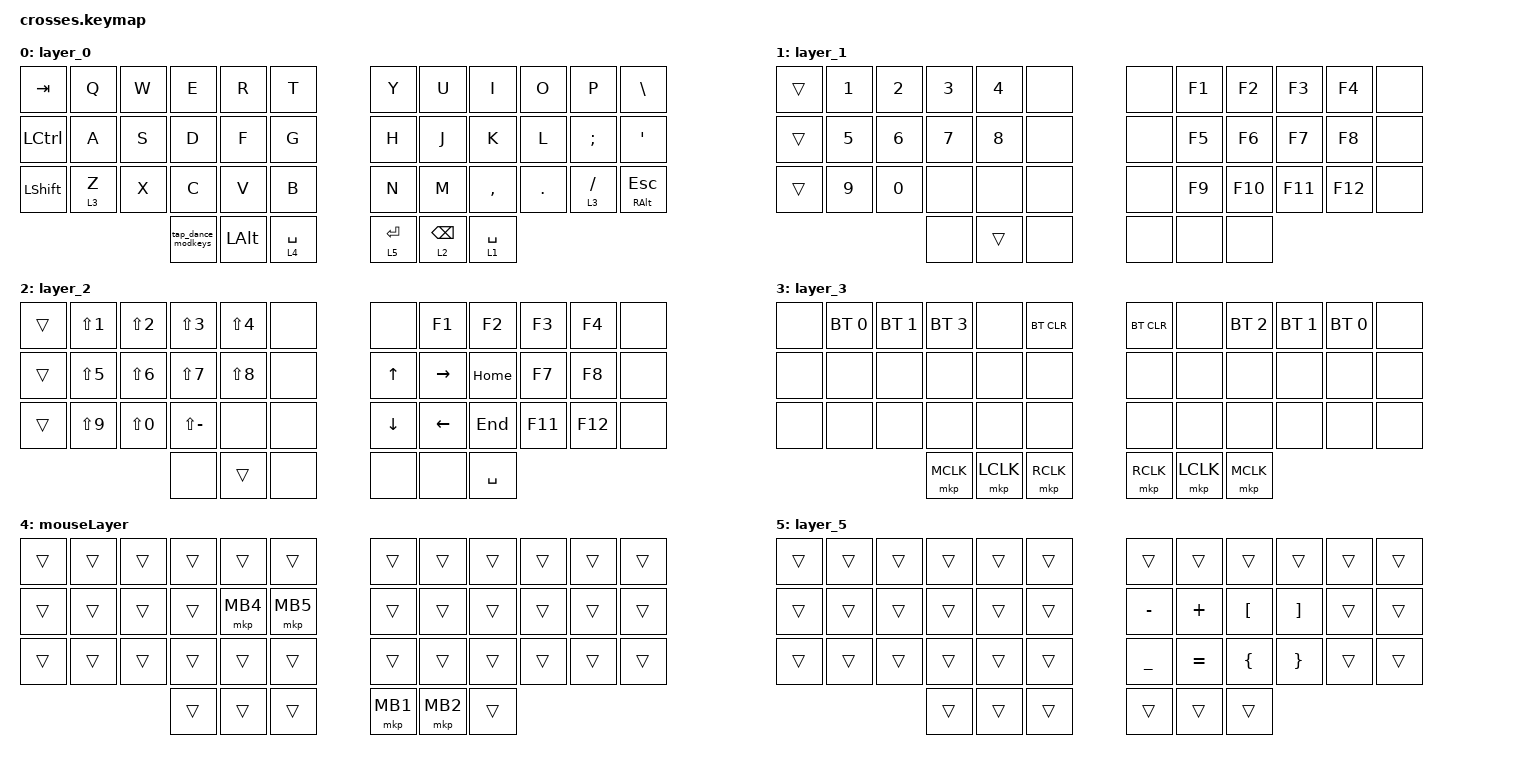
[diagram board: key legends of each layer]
#include <behaviors.dtsi>
#include <dt-bindings/zmk/bt.h>
#include <dt-bindings/zmk/keys.h>
#include <dt-bindings/zmk/pointing.h>

&lt {
    tapping-term-ms = <200>;
    flavor = "balanced";
    quick-tap-ms = <150>;
};

/ {
    behaviors {
        tap_dance_modkeys: tap_dance_modkeys {
            compatible = "zmk,behavior-tap-dance";
            label = "TAP_DANCE_MODKEYS";
            #binding-cells = <0>;
            bindings = <&mo 5>, <&kp LEFT_WIN>, <&kp LEFT_WIN>;
        };
    };

    keymap {
        compatible = "zmk,keymap";
       
        layer_0 {
            bindings = <
&kp TAB             &kp Q         &kp W        &kp E        &kp R            &kp T          &kp Y  &kp U  &kp I      &kp O    &kp P          &kp BSLH
&kp LCTRL           &kp A         &kp S        &kp D        &kp F            &kp G          &kp H  &kp J  &kp K      &kp L    &kp SEMICOLON  &kp SQT
&kp LEFT_SHIFT      &lt 3 Z       &kp X        &kp C        &kp V            &kp B          &kp N  &kp M  &kp COMMA  &kp DOT  &lt 3 SLASH    &mt RIGHT_ALT ESCAPE
&tap_dance_modkeys  &kp LEFT_ALT  &lt 4 SPACE  &lt 5 ENTER  &lt 2 BACKSPACE  &lt 1 SPACE
            >;
        };

        layer_1 {
            bindings = <
&trans  &kp NUMBER_1  &kp NUMBER_2  &kp NUMBER_3  &kp NUMBER_4  &none    &none  &kp F1  &kp F2   &kp F3   &kp F4   &none
&trans  &kp NUMBER_5  &kp NUMBER_6  &kp NUMBER_7  &kp NUMBER_8  &none    &none  &kp F5  &kp F6   &kp F7   &kp F8   &none
&trans  &kp NUMBER_9  &kp NUMBER_0  &none         &none         &none    &none  &kp F9  &kp F10  &kp F11  &kp F12  &none
&none   &trans        &none         &none         &none         &none
            >;
        };

        layer_2 {
            bindings = <
&trans  &kp LS(N1)  &kp LS(N2)  &kp LS(N3)     &kp LS(N4)  &none        &none         &kp F1     &kp F2    &kp F3   &kp F4   &none
&trans  &kp LS(N5)  &kp LS(N6)  &kp LS(N7)     &kp LS(N8)  &none        &kp UP_ARROW  &kp RIGHT  &kp HOME  &kp F7   &kp F8   &none
&trans  &kp LS(N9)  &kp LS(N0)  &kp LS(MINUS)  &none       &none        &kp DOWN      &kp LEFT   &kp END   &kp F11  &kp F12  &none
&none   &trans      &none       &none          &none       &kp SPACE
            >;
        };

        layer_3 {
            bindings = <
&none      &bt BT_SEL 0  &bt BT_SEL 1  &bt BT_SEL 3  &none      &bt BT_CLR    &bt BT_CLR  &none  &bt BT_SEL 2  &bt BT_SEL 1  &bt BT_SEL 0  &none
&none      &none         &none         &none         &none      &none         &none       &none  &none         &none         &none         &none
&none      &none         &none         &none         &none      &none         &none       &none  &none         &none         &none         &none
&mkp MCLK  &mkp LCLK     &mkp RCLK     &mkp RCLK     &mkp LCLK  &mkp MCLK
            >;
        };

        mouseLayer {
            bindings = <
&trans  &trans  &trans  &trans    &trans    &trans      &trans  &trans  &trans  &trans  &trans  &trans
&trans  &trans  &trans  &trans    &mkp MB4  &mkp MB5    &trans  &trans  &trans  &trans  &trans  &trans
&trans  &trans  &trans  &trans    &trans    &trans      &trans  &trans  &trans  &trans  &trans  &trans
&trans  &trans  &trans  &mkp MB1  &mkp MB2  &trans
            >;
        };

        layer_5 {
            bindings = <
&trans  &trans  &trans  &trans  &trans  &trans    &trans     &trans     &trans            &trans             &trans  &trans
&trans  &trans  &trans  &trans  &trans  &trans    &kp MINUS  &kp PLUS   &kp LEFT_BRACKET  &kp RIGHT_BRACKET  &trans  &trans
&trans  &trans  &trans  &trans  &trans  &trans    &kp UNDER  &kp EQUAL  &kp LEFT_BRACE    &kp RIGHT_BRACE    &trans  &trans
&trans  &trans  &trans  &trans  &trans  &trans
            >;
        };
    };
};
